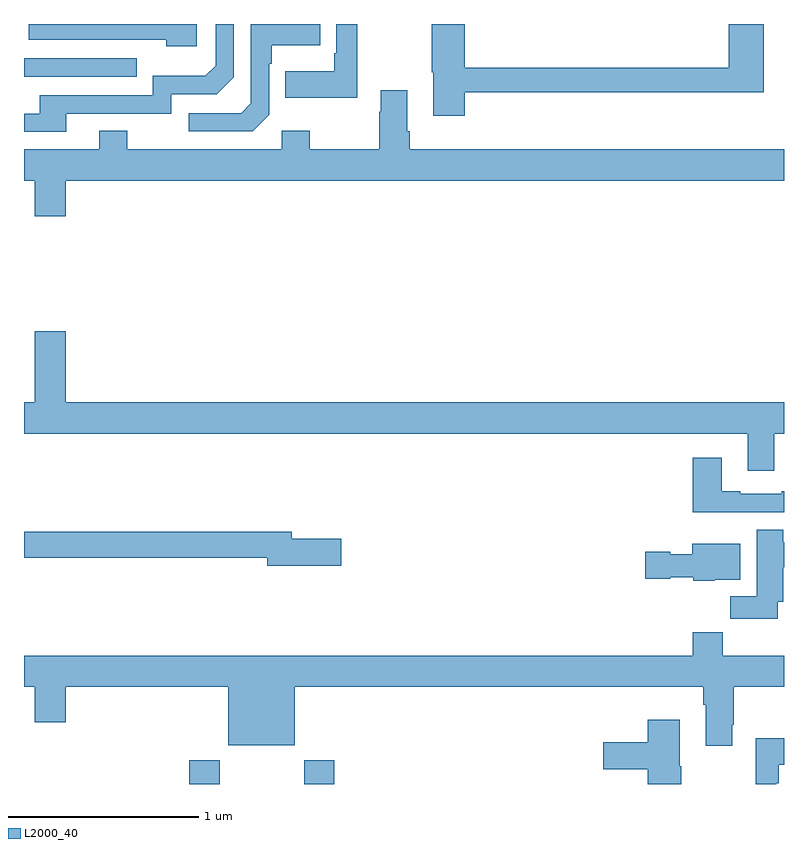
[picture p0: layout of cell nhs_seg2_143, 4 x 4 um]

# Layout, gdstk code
import gdstk
lib = gdstk.Library(unit=1e-6, precision=1e-09)
def R(c, l, rs):  # rectangles x0, y0, x1, y1
    for r in rs: c.add(gdstk.rectangle(r[:2], r[2:], *l))
def P(c, l, *ps):  # polygons
    for p in ps: c.add(gdstk.Polygon(p, *l))
L2000_40 = (2000, 40)

nhs_seg2_143 = lib.new_cell('nhs_seg2_143')
R(nhs_seg2_143, L2000_40, [(117.869,637.8,118.029,637.924), (118.474,637.8,118.634,637.924), (117,641.523,117.593,641.619)])
P(nhs_seg2_143, L2000_40, [(118.753,641.8),(118.644,641.8),(118.644,641.647),(118.632,641.647),(118.632,641.551),(118.375,641.551),(118.375,641.411),(118.753,641.411)],
  [(119.321,641.442),(120.893,641.442),(120.893,641.8),(120.71,641.8),(120.71,641.57),(119.321,641.57),(119.321,641.8),(119.146,641.8),(119.146,641.547),(119.153,641.547),(119.153,641.316),(119.321,641.316)],
  [(117.223,641.328),(117.774,641.328),(117.774,641.43),(118.014,641.43),(118.104,641.52),(118.104,641.8),(118.008,641.8),(118.008,641.58),(117.955,641.527),(117.678,641.527),(117.678,641.424),(117.083,641.424),(117.083,641.328),(117,641.328),(117,641.232),(117.223,641.232)],
  [(118.29,641.322),(118.29,641.591),(118.303,641.591),(118.303,641.687),(118.559,641.687),(118.559,641.8),(118.194,641.8),(118.194,641.382),(118.143,641.331),(117.867,641.331),(117.867,641.235),(118.203,641.235)],
  [(117.91,641.8),(117.024,641.8),(117.024,641.718),(117.749,641.718),(117.749,641.684),(117.91,641.684)],
  [(117.22,640.976),(121,640.976),(121,641.14),(119.03,641.14),(119.03,641.236),(119.017,641.236),(119.017,641.452),(118.877,641.452),(118.877,641.339),(118.87,641.339),(118.87,641.14),(118.503,641.14),(118.503,641.239),(118.356,641.239),(118.356,641.14),(117.543,641.14),(117.543,641.239),(117.395,641.239),(117.395,641.14),(117,641.14),(117,640.976),(117.056,640.976),(117.056,640.788),(117.22,640.788)],
  [(120.949,639.644),(121,639.644),(121,639.808),(117.22,639.808),(117.22,640.183),(117.056,640.183),(117.056,639.808),(117,639.808),(117,639.644),(120.809,639.644),(120.809,639.45),(120.949,639.45)],
  [(120.765,639.231),(121,639.231),(121,639.34),(120.989,639.34),(120.989,639.327),(120.769,639.327),(120.769,639.34),(120.673,639.34),(120.673,639.517),(120.521,639.517),(120.521,639.23),(120.765,639.23)],
  [(120.967,638.759),(120.997,638.759),(120.997,638.94),(121,638.94),(121,639.072),(120.997,639.072),(120.997,639.139),(120.857,639.139),(120.857,638.788),(120.718,638.788),(120.718,638.67),(120.967,638.67)],
  [(118.669,639.092),(118.408,639.092),(118.408,639.128),(117,639.128),(117,638.992),(118.28,638.992),(118.28,638.95),(118.669,638.95)],
  [(120.636,638.876),(120.769,638.876),(120.769,639.064),(120.518,639.064),(120.518,639.01),(120.402,639.01),(120.402,639.023),(120.27,639.023),(120.27,638.881),(120.402,638.881),(120.402,638.888),(120.522,638.888),(120.522,638.87),(120.636,638.87)],
  [(120.727,638.113),(120.735,638.113),(120.735,638.312),(121,638.312),(121,638.476),(120.677,638.476),(120.677,638.6),(120.521,638.6),(120.521,638.476),(117,638.476),(117,638.312),(117.056,638.312),(117.056,638.124),(117.22,638.124),(117.22,638.312),(118.076,638.312),(118.076,638.003),(118.426,638.003),(118.426,638.312),(120.575,638.312),(120.575,638.216),(120.587,638.216),(120.587,638.001),(120.727,638.001)],
  [(120.459,637.893),(120.451,637.893),(120.451,638.137),(120.284,638.137),(120.284,638.019),(120.048,638.019),(120.048,637.877),(120.284,637.877),(120.284,637.8),(120.459,637.8)],
  [(120.96,637.805),(120.973,637.805),(120.973,637.901),(121,637.901),(121,638.041),(120.852,638.041),(120.852,637.8),(120.96,637.8)])

lib.write_gds('nhs_seg2_143.gds')
